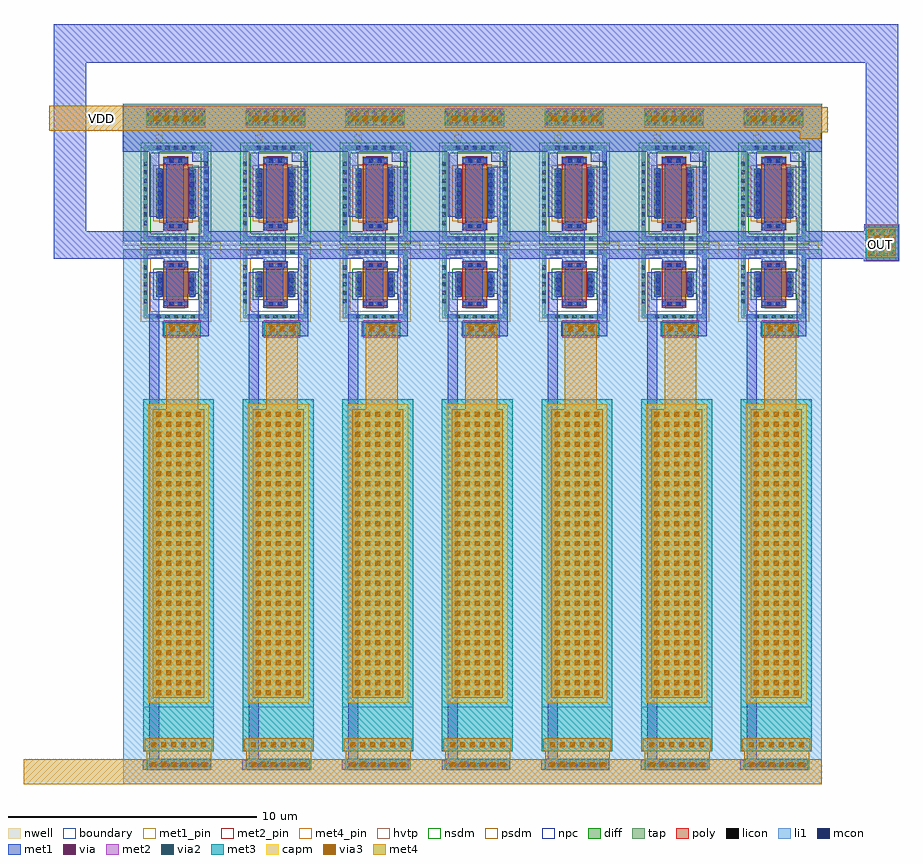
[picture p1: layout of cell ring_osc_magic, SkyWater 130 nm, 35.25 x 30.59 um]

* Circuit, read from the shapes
.subckt ring_osc_magic OUT VDD VSS
XM1 inv_cap_magic_long_0_1/A OUT VSS VSS sky130_fd_pr__nfet_01v8 w=1 l=1
XM2 inv_cap_magic_long_0_2/A inv_cap_magic_long_0_1/A VSS VSS sky130_fd_pr__nfet_01v8 w=1 l=1
XM3 inv_cap_magic_long_0_3/A inv_cap_magic_long_0_2/A VSS VSS sky130_fd_pr__nfet_01v8 w=1 l=1
XM4 inv_cap_magic_long_0_4/A inv_cap_magic_long_0_3/A VSS VSS sky130_fd_pr__nfet_01v8 w=1 l=1
XM5 inv_cap_magic_long_0_5/A inv_cap_magic_long_0_4/A VSS VSS sky130_fd_pr__nfet_01v8 w=1 l=1
XM6 inv_cap_magic_long_0_6/A inv_cap_magic_long_0_5/A VSS VSS sky130_fd_pr__nfet_01v8 w=1 l=1
XM7 OUT inv_cap_magic_long_0_6/A VSS VSS sky130_fd_pr__nfet_01v8 w=1 l=1
XM8 inv_cap_magic_long_0_1/A OUT VDD VDD sky130_fd_pr__pfet_01v8_hvt w=2 l=1
XM9 inv_cap_magic_long_0_2/A inv_cap_magic_long_0_1/A VDD VDD sky130_fd_pr__pfet_01v8_hvt w=2 l=1
XM10 inv_cap_magic_long_0_3/A inv_cap_magic_long_0_2/A VDD VDD sky130_fd_pr__pfet_01v8_hvt w=2 l=1
XM11 inv_cap_magic_long_0_4/A inv_cap_magic_long_0_3/A VDD VDD sky130_fd_pr__pfet_01v8_hvt w=2 l=1
XM12 inv_cap_magic_long_0_5/A inv_cap_magic_long_0_4/A VDD VDD sky130_fd_pr__pfet_01v8_hvt w=2 l=1
XM13 inv_cap_magic_long_0_6/A inv_cap_magic_long_0_5/A VDD VDD sky130_fd_pr__pfet_01v8_hvt w=2 l=1
XM14 OUT inv_cap_magic_long_0_6/A VDD VDD sky130_fd_pr__pfet_01v8_hvt w=2 l=1
XC15 inv_cap_magic_long_0_1/A VSS sky130_fd_pr__cap_mim_m3_1 w=2.45 l=12
XC16 inv_cap_magic_long_0_2/A VSS sky130_fd_pr__cap_mim_m3_1 w=2.45 l=12
XC17 inv_cap_magic_long_0_3/A VSS sky130_fd_pr__cap_mim_m3_1 w=2.45 l=12
XC18 inv_cap_magic_long_0_4/A VSS sky130_fd_pr__cap_mim_m3_1 w=2.45 l=12
XC19 inv_cap_magic_long_0_5/A VSS sky130_fd_pr__cap_mim_m3_1 w=2.45 l=12
XC20 inv_cap_magic_long_0_6/A VSS sky130_fd_pr__cap_mim_m3_1 w=2.45 l=12
XC21 OUT VSS sky130_fd_pr__cap_mim_m3_1 w=2.45 l=12
.ends

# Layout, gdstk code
from math import pi, radians
import gdstk
lib = gdstk.Library(unit=1e-6, precision=1e-09)
def R(c, l, rs):  # rectangles x0, y0, x1, y1
    for r in rs: c.add(gdstk.rectangle(r[:2], r[2:], *l))
def A(c, l, x, y, w, h, nx, ny, dx, dy):  # array of equal rectangles
    R(c, l, [(x+i*dx, y+j*dy, x+i*dx+w, y+j*dy+h) for i in range(nx) for j in range(ny)])
nwell = (64, 20)
diff = (65, 20)
tap = (65, 44)
poly = (66, 20)
licon = (66, 44)
li1 = (67, 20)
mcon = (67, 44)
met1_pin = (68, 16)
met1 = (68, 20)
via = (68, 44)
met2_pin = (69, 16)
met2 = (69, 20)
via2 = (69, 44)
met3 = (70, 20)
via3 = (70, 44)
met4_pin = (71, 16)
met4 = (71, 20)
hvtp = (78, 44)
capm = (89, 44)
nsdm = (93, 44)
psdm = (94, 20)
npc = (95, 20)
boundary = (235, 4)

sky130_fd_pr__nfet_01v8_ = lib.new_cell('sky130_fd_pr__nfet_01v8_G6PFY8')
R(sky130_fd_pr__nfet_01v8_, diff, [(-0.79,-0.5,0.79,0.5)])
R(sky130_fd_pr__nfet_01v8_, tap, [(-1.3,-1.37,1.3,-1.2), (-1.3,-1.2,-1.13,1.2), (1.13,-1.2,1.3,1.2), (-1.3,1.2,1.3,1.37)])
R(sky130_fd_pr__nfet_01v8_, poly, [(-0.5,-0.94,0.5,0.94)])
A(sky130_fd_pr__nfet_01v8_, licon, -0.765, -1.37, 0.17, 0.17, 5, 2, 0.34, 2.57)
A(sky130_fd_pr__nfet_01v8_, licon, -1.3, -0.765, 0.17, 0.17, 1, 5, 0, 0.34)
A(sky130_fd_pr__nfet_01v8_, licon, 1.13, -0.765, 0.17, 0.17, 1, 5, 0, 0.34)
A(sky130_fd_pr__nfet_01v8_, licon, -0.73, -0.425, 0.17, 0.17, 1, 3, 0, 0.34)
A(sky130_fd_pr__nfet_01v8_, licon, 0.56, -0.425, 0.17, 0.17, 1, 3, 0, 0.34)
R(sky130_fd_pr__nfet_01v8_, licon, [(-0.255,-0.86,-0.085,-0.69), (0.085,-0.86,0.255,-0.69), (-0.255,0.69,-0.085,0.86), (0.085,0.69,0.255,0.86)])
R(sky130_fd_pr__nfet_01v8_, li1, [(-1.3,-1.37,1.3,-1.2), (-1.3,-1.2,-1.13,1.2), (1.13,-1.2,1.3,1.2), (-0.5,-0.86,0.5,-0.69), (-0.73,-0.52,-0.56,0.52), (0.56,-0.52,0.73,0.52), (-0.5,0.69,0.5,0.86), (-1.3,1.2,1.3,1.37)])
R(sky130_fd_pr__nfet_01v8_, mcon, [(-0.265,-0.86,-0.095,-0.69), (0.095,-0.86,0.265,-0.69), (-0.73,-0.265,-0.56,-0.095), (0.56,-0.265,0.73,-0.095), (-0.73,0.095,-0.56,0.265), (0.56,0.095,0.73,0.265), (-0.265,0.69,-0.095,0.86), (0.095,0.69,0.265,0.86)])
R(sky130_fd_pr__nfet_01v8_, met1, [(-0.48,-0.89,0.48,-0.66), (-0.76,-0.5,-0.53,0.5), (0.53,-0.5,0.76,0.5), (-0.48,0.66,0.48,0.89)])
R(sky130_fd_pr__nfet_01v8_, nsdm, [(-0.915,-0.625,0.915,0.625)])
R(sky130_fd_pr__nfet_01v8_, psdm, [(-1.425,-1.495,1.425,-1.075), (-1.425,-1.075,-1.005,1.075), (1.005,-1.075,1.425,1.075), (-1.425,1.075,1.425,1.495)])
R(sky130_fd_pr__nfet_01v8_, npc, [(-0.355,-0.96,0.355,-0.59), (-0.355,0.59,0.355,0.96)])
R(sky130_fd_pr__nfet_01v8_, boundary, [(-1.21,-1.28,1.21,1.28)])
sky130_fd_pr__nfet_01v8_.add(gdstk.Label('B', (0,-1.28), layer=67, texttype=5))
sky130_fd_pr__nfet_01v8_.add(gdstk.Label('D', (-0.64,0), layer=67, texttype=5))
sky130_fd_pr__nfet_01v8_.add(gdstk.Label('S', (0.64,0), layer=67, texttype=5))
sky130_fd_pr__nfet_01v8_.add(gdstk.Label('G', (0,0.77), layer=67, texttype=5))

sky130_fd_pr__pfet_01v8_ = lib.new_cell('sky130_fd_pr__pfet_01v8_hvt_WXYFTK')
R(sky130_fd_pr__pfet_01v8_, nwell, [(-1.48,-2.095,1.48,2.095)])
R(sky130_fd_pr__pfet_01v8_, diff, [(-0.79,-1,0.79,1)])
R(sky130_fd_pr__pfet_01v8_, tap, [(-1.3,-1.915,1.3,-1.745), (-1.3,-1.745,-1.13,1.745), (1.13,-1.745,1.3,1.745), (-1.3,1.745,1.3,1.915)])
R(sky130_fd_pr__pfet_01v8_, poly, [(-0.5,-1.485,0.5,1.485)])
A(sky130_fd_pr__pfet_01v8_, licon, -0.765, -1.915, 0.17, 0.17, 5, 2, 0.34, 3.66)
A(sky130_fd_pr__pfet_01v8_, licon, -1.3, -1.275, 0.17, 0.17, 1, 8, 0, 0.34)
A(sky130_fd_pr__pfet_01v8_, licon, 1.13, -1.275, 0.17, 0.17, 1, 8, 0, 0.34)
A(sky130_fd_pr__pfet_01v8_, licon, -0.73, -0.935, 0.17, 0.17, 1, 6, 0, 0.34)
A(sky130_fd_pr__pfet_01v8_, licon, 0.56, -0.935, 0.17, 0.17, 1, 6, 0, 0.34)
R(sky130_fd_pr__pfet_01v8_, licon, [(-0.255,-1.405,-0.085,-1.235), (0.085,-1.405,0.255,-1.235), (-0.255,1.235,-0.085,1.405), (0.085,1.235,0.255,1.405)])
R(sky130_fd_pr__pfet_01v8_, li1, [(-1.3,-1.915,1.3,-1.745), (-1.3,-1.745,-1.13,1.745), (1.13,-1.745,1.3,1.745), (-0.5,-1.405,0.5,-1.235), (-0.73,-1.02,-0.56,1.02), (0.56,-1.02,0.73,1.02), (-0.5,1.235,0.5,1.405), (-1.3,1.745,1.3,1.915)])
A(sky130_fd_pr__pfet_01v8_, mcon, -0.73, -0.805, 0.17, 0.17, 1, 5, 0, 0.36)
A(sky130_fd_pr__pfet_01v8_, mcon, 0.56, -0.805, 0.17, 0.17, 1, 5, 0, 0.36)
R(sky130_fd_pr__pfet_01v8_, mcon, [(-0.265,-1.405,-0.095,-1.235), (0.095,-1.405,0.265,-1.235), (-0.265,1.235,-0.095,1.405), (0.095,1.235,0.265,1.405)])
R(sky130_fd_pr__pfet_01v8_, met1, [(-0.48,-1.435,0.48,-1.205), (-0.76,-1,-0.53,1), (0.53,-1,0.76,1), (-0.48,1.205,0.48,1.435)])
R(sky130_fd_pr__pfet_01v8_, hvtp, [(-0.68,-1.18,0.68,1.18)])
R(sky130_fd_pr__pfet_01v8_, nsdm, [(-1.425,-2.04,1.425,-1.62), (-1.425,-1.62,-1.005,1.62), (1.005,-1.62,1.425,1.62), (-1.425,1.62,1.425,2.04)])
R(sky130_fd_pr__pfet_01v8_, psdm, [(-0.915,-1.125,0.915,1.125)])
R(sky130_fd_pr__pfet_01v8_, npc, [(-0.355,-1.505,0.355,-1.135), (-0.355,1.135,0.355,1.505)])
R(sky130_fd_pr__pfet_01v8_, boundary, [(-1.215,-1.83,1.215,1.83)])
sky130_fd_pr__pfet_01v8_.add(gdstk.Label('B', (0,-1.83), layer=67, texttype=5))
sky130_fd_pr__pfet_01v8_.add(gdstk.Label('D', (-0.645,0), layer=67, texttype=5))
sky130_fd_pr__pfet_01v8_.add(gdstk.Label('S', (0.645,0), layer=67, texttype=5))
sky130_fd_pr__pfet_01v8_.add(gdstk.Label('G', (0,1.32), layer=67, texttype=5))

sky130_fd_pr__cap_mim_m3 = lib.new_cell('sky130_fd_pr__cap_mim_m3_1_VX6TAF')
R(sky130_fd_pr__cap_mim_m3, met3, [(-7.08,-1.425,7.08,1.425)])
A(sky130_fd_pr__cap_mim_m3, via3, 6.72, -1.1, 0.2, 0.2, 1, 6, 0, 0.4)
A(sky130_fd_pr__cap_mim_m3, via3, -6.58, -0.9, 0.2, 0.2, 29, 5, 0.4, 0.4)
R(sky130_fd_pr__cap_mim_m3, met4, [(6.58,-1.365,7.06,1.365), (-6.685,-1.03,4.925,1.03)])
R(sky130_fd_pr__cap_mim_m3, capm, [(-6.88,-1.225,5.12,1.225)])
R(sky130_fd_pr__cap_mim_m3, boundary, [(-7.08,-1.425,5.32,1.425)])
sky130_fd_pr__cap_mim_m3.add(gdstk.Label('C2', (6.82,0), layer=71, texttype=5))
sky130_fd_pr__cap_mim_m3.add(gdstk.Label('C1', (-0.88,0), layer=71, texttype=5))

inv_cap_magic_long = lib.new_cell('inv_cap_magic_long')
R(inv_cap_magic_long, nwell, [(4.55,10.73,8.63,16.44)])
R(inv_cap_magic_long, li1, [(4.56,-10.94,8.62,7.9), (4.56,7.9,5.5,10.5), (7.82,7.9,8.62,10.5), (4.56,10.5,8.62,10.59), (4.56,10.91,5.55,11), (7.81,10.91,8.62,11), (4.56,11,8.62,11.1), (4.56,11.1,5.55,14.64), (7.81,11.1,8.62,14.64), (4.56,14.64,8.62,16.43)])
A(inv_cap_magic_long, mcon, 5.625, -10.245, 0.17, 0.17, 7, 1, 0.36, 0)
A(inv_cap_magic_long, mcon, 5.51, 15.59, 0.17, 0.17, 7, 2, 0.36, 0.36)
R(inv_cap_magic_long, met1_pin, [(5.51,10.33,6,10.78), (7.87,10.41,8.49,10.88), (5.86,14.93,6.15,15.2)])
R(inv_cap_magic_long, met1, [(5.34,-10.36,8.11,-9.96), (5.6,-9.96,6,9.66), (6.15,7.08,8,7.67), (7.6,7.67,8,8.8), (6.3,8.5,7,9.9), (7.2,8.8,8,9.67), (7.6,9.67,8,10.2), (6.2,9.9,7.1,10.2), (4.26,10.2,7.1,11.3), (7.6,10.2,8.66,11.3), (6.2,11.3,7.1,11.6), (7.6,11.3,8,11.9), (6.3,11.6,7,14.08), (5.6,11.9,6,14.51), (7.2,11.9,8,13.9), (6.2,14.08,7.16,14.12), (7.34,14.1,7.98,14.51), (6.3,14.12,7,14.2), (4.55,14.51,8.61,16.36)])
A(inv_cap_magic_long, via, 5.6, -10.23, 0.15, 0.15, 8, 1, 0.32, 0)
A(inv_cap_magic_long, via, 6.385, 7.14, 0.15, 0.15, 4, 2, 0.32, 0.32)
A(inv_cap_magic_long, via, 5.64, 15.62, 0.15, 0.15, 7, 2, 0.32, 0.32)
R(inv_cap_magic_long, met2_pin, [(6.07,-10.27,6.4,-10.02)])
R(inv_cap_magic_long, met2, [(5.53,-10.39,8.06,-9.92), (6.2,7.03,7.68,7.72), (5.48,15.48,7.87,16.23)])
A(inv_cap_magic_long, via2, 5.695, -10.255, 0.2, 0.2, 6, 1, 0.4, 0)
A(inv_cap_magic_long, via2, 6.44, 7.275, 0.2, 0.2, 3, 1, 0.4, 0)
A(inv_cap_magic_long, via2, 5.575, 15.755, 0.2, 0.2, 6, 1, 0.4, 0)
R(inv_cap_magic_long, met3, [(5.5,-10.37,8.11,-10.365), (5.48,-10.365,8.11,-9.945), (5.5,-9.945,8.11,-9.92), (6.2,7.105,7.68,7.645), (5.48,15.555,7.87,16.155)])
A(inv_cap_magic_long, via3, 5.695, -10.255, 0.2, 0.2, 6, 1, 0.4, 0)
A(inv_cap_magic_long, via3, 6.44, 7.275, 0.2, 0.2, 3, 1, 0.4, 0)
A(inv_cap_magic_long, via3, 5.775, 15.755, 0.2, 0.2, 5, 1, 0.4, 0)
R(inv_cap_magic_long, met4, [(4.55,-10.94,8.61,-9.94), (5.5,-9.94,8.11,-9.51), (5.5,-9.51,8.1,-9.1), (6.3,3.18,7.58,7.175), (6.295,7.175,7.585,7.575), (4.56,15.36,8.61,16.36)])
inv_cap_magic_long.add(gdstk.Reference(sky130_fd_pr__nfet_01v8_, (6.68,9.17)))
inv_cap_magic_long.add(gdstk.Reference(sky130_fd_pr__pfet_01v8_, (6.68,12.83)))
inv_cap_magic_long.add(gdstk.Reference(sky130_fd_pr__cap_mim_m3, (6.785,-2.54), rotation=3*pi/2))
inv_cap_magic_long.add(gdstk.Label('VDD', (6.005,15.065), layer=68, texttype=5))
inv_cap_magic_long.add(gdstk.Label('A', (5.755,10.555), layer=68, texttype=5))
inv_cap_magic_long.add(gdstk.Label('X', (8.18,10.645), layer=68, texttype=5))
inv_cap_magic_long.add(gdstk.Label('VSS', (6.235,-10.145), layer=69, texttype=5))

ring_osc_magic = lib.new_cell('ring_osc_magic')
R(ring_osc_magic, met1, [(23.4,4.74,24.83,4.83), (-9.21,4.83,-3.87,5.93), (20.69,4.83,24.83,5.93), (-9.21,5.93,-7.9,12.73), (23.42,5.93,24.83,6.23), (23.47,6.23,24.78,12.73), (-9.21,12.73,24.78,14.28)])
A(ring_osc_magic, via, 23.57, 4.93, 0.15, 0.15, 4, 4, 0.32, 0.32)
R(ring_osc_magic, met2_pin, [(23.81,5.22,24.3,5.58)])
R(ring_osc_magic, met2, [(23.47,4.78,24.78,6.19)])
A(ring_osc_magic, via2, 23.625, 4.985, 0.2, 0.2, 3, 3, 0.4, 0.4)
R(ring_osc_magic, met3, [(23.47,4.855,24.78,6.115)])
R(ring_osc_magic, via3, [(23.825,5.185,24.025,5.385), (24.225,5.185,24.425,5.385), (23.825,5.585,24.025,5.785), (24.225,5.585,24.425,5.785)])
R(ring_osc_magic, met4_pin, [(-7.52,10.31,-7.03,10.67)])
R(ring_osc_magic, met4, [(-10.42,-16.31,-5.44,-15.31), (23.565,4.925,24.685,6.045), (20.82,9.67,21.66,9.92), (20.82,9.92,21.94,10.67), (-9.39,9.99,-4.41,10.99), (21.1,10.67,21.94,10.92)])
r = gdstk.Reference(inv_cap_magic_long, (-10.97,-5.37)); r.repetition = gdstk.Repetition(7, 1, v1=(4.01,0), v2=(0,0.5)); ring_osc_magic.add(r)
ring_osc_magic.add(gdstk.Label('VDD', (-7.275,10.49), layer=71, texttype=5))
ring_osc_magic.add(gdstk.Label('OUT', (24.055,5.4), layer=69, texttype=5))

lib.write_gds('ring_osc_magic.gds')
